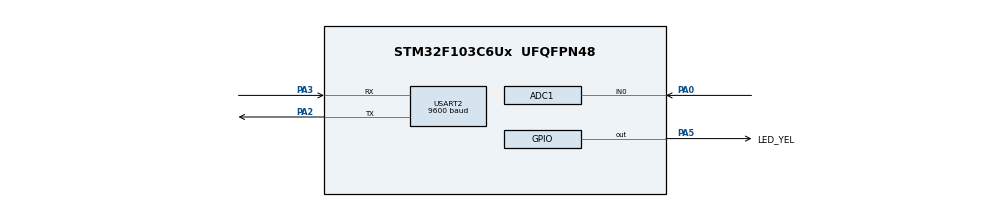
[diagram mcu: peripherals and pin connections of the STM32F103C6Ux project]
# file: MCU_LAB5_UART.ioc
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ADC1.Channel-0\#ChannelRegularConversion=ADC_CHANNEL_0
ADC1.ContinuousConvMode=ENABLE
ADC1.NbrOfConversionFlag=1
ADC1.Rank-0\#ChannelRegularConversion=1
ADC1.SamplingTime-0\#ChannelRegularConversion=ADC_SAMPLETIME_1CYCLE_5
ADC1.master=1
Mcu.Family=STM32F1
Mcu.Name=STM32F103C6Ux
Mcu.Package=UFQFPN48
NVIC.PriorityGroup=NVIC_PRIORITYGROUP_4
NVIC.TIM2_IRQn=true\:0\:0\:false\:false\:true\:true\:true\:true
NVIC.USART2_IRQn=true\:0\:0\:false\:false\:true\:true\:true\:true
PA0-WKUP.Signal=ADCx_IN0
PA2.Mode=Asynchronous
PA2.Signal=USART2_TX
PA3.Mode=Asynchronous
PA3.Signal=USART2_RX
PA5.GPIO_Label=LED_YEL
PA5.Signal=GPIO_Output
ProjectManager.HeapSize=0x200
ProjectManager.StackSize=0x400
ProjectManager.TargetToolchain=STM32CubeIDE
RCC.APB1Freq_Value=8000000
RCC.APB2Freq_Value=8000000
SH.ADCx_IN0.0=ADC1_IN0,IN0
TIM2.Period=9
TIM2.Prescaler=7999
USART2.BaudRate=9600
USART2.VirtualMode=VM_ASYNC
VP_SYS_VS_ND.Mode=No_Debug
VP_TIM2_VS_ClockSourceINT.Mode=Internal
board=custom

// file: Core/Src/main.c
/* USER CODE BEGIN Header */
/**
  ******************************************************************************
  * @file           : main.c
  * @brief          : Main program body
  ******************************************************************************
  * @attention
  *
  * Copyright (c) 2025 STMicroelectronics.
  * All rights reserved.
  *
  * This software is licensed under terms that can be found in the LICENSE file
  * in the root directory of this software component.
  * If no LICENSE file comes with this software, it is provided AS-IS.
  *
  ******************************************************************************
  */
/* USER CODE END Header */
#include "main.h"
#include "software_timer.h"
#include "fsm.h"
/* USER CODE BEGIN Includes */
#include <stdio.h>
/* USER CODE END Includes */

/* USER CODE BEGIN PD */
extern uint8_t buffer_flag;
void command_parser_fsm(void);
void uart_communication_fsm(void);
/* USER CODE END PD */

ADC_HandleTypeDef hadc1;

TIM_HandleTypeDef htim2;

UART_HandleTypeDef huart2;

void SystemClock_Config(void);
static void MX_GPIO_Init(void);
static void MX_USART2_UART_Init(void);
static void MX_ADC1_Init(void);
static void MX_TIM2_Init(void);

/* USER CODE BEGIN 0 */
void HAL_UART_RxCpltCallback(UART_HandleTypeDef *huart){
	if(huart->Instance == USART2){
		get_uart_message(huart);
	}
}
/* USER CODE END 0 */

int main(void)
{

  /* MCU Configuration--------------------------------------------------------*/

  /* Reset of all peripherals, Initializes the Flash interface and the Systick. */
  HAL_Init();

  /* Configure the system clock */
  SystemClock_Config();

  /* Initialize all configured peripherals */
  MX_GPIO_Init();
  MX_USART2_UART_Init();
  MX_ADC1_Init();
  MX_TIM2_Init();
  /* USER CODE BEGIN 2 */
  HAL_TIM_Base_Start_IT(&htim2);
  HAL_UART_Receive_IT(&huart2, &temp, 1);
  HAL_ADC_Start(&hadc1);
  /* USER CODE END 2 */

  /* Infinite loop */
  /* USER CODE BEGIN WHILE */
  while (1)
  {
	  if(buffer_flag == 1){
		  fsm_command_parser();
	      buffer_flag = 0;
	  }
	  fsm_uart_communication();
    /* USER CODE END WHILE */

  }
}

void SystemClock_Config(void)
{
  RCC_OscInitTypeDef RCC_OscInitStruct = {0};
  RCC_ClkInitTypeDef RCC_ClkInitStruct = {0};
  RCC_PeriphCLKInitTypeDef PeriphClkInit = {0};

  /** Initializes the RCC Oscillators according to the specified parameters
  * in the RCC_OscInitTypeDef structure.
  */
  RCC_OscInitStruct.OscillatorType = RCC_OSCILLATORTYPE_HSI;
  RCC_OscInitStruct.HSIState = RCC_HSI_ON;
  RCC_OscInitStruct.HSICalibrationValue = RCC_HSICALIBRATION_DEFAULT;
  RCC_OscInitStruct.PLL.PLLState = RCC_PLL_NONE;
  if (HAL_RCC_OscConfig(&RCC_OscInitStruct) != HAL_OK)
  {
    Error_Handler();
  }

  /** Initializes the CPU, AHB and APB buses clocks
  */
  RCC_ClkInitStruct.ClockType = RCC_CLOCKTYPE_HCLK|RCC_CLOCKTYPE_SYSCLK
                              |RCC_CLOCKTYPE_PCLK1|RCC_CLOCKTYPE_PCLK2;
  RCC_ClkInitStruct.SYSCLKSource = RCC_SYSCLKSOURCE_HSI;
  RCC_ClkInitStruct.AHBCLKDivider = RCC_SYSCLK_DIV1;
  RCC_ClkInitStruct.APB1CLKDivider = RCC_HCLK_DIV1;
  RCC_ClkInitStruct.APB2CLKDivider = RCC_HCLK_DIV1;

  if (HAL_RCC_ClockConfig(&RCC_ClkInitStruct, FLASH_LATENCY_0) != HAL_OK)
  {
    Error_Handler();
  }
  PeriphClkInit.PeriphClockSelection = RCC_PERIPHCLK_ADC;
  PeriphClkInit.AdcClockSelection = RCC_ADCPCLK2_DIV2;
  if (HAL_RCCEx_PeriphCLKConfig(&PeriphClkInit) != HAL_OK)
  {
    Error_Handler();
  }
}

static void MX_ADC1_Init(void)
{

  ADC_ChannelConfTypeDef sConfig = {0};

  /** Common config
  */
  hadc1.Instance = ADC1;
  hadc1.Init.ScanConvMode = ADC_SCAN_DISABLE;
  hadc1.Init.ContinuousConvMode = ENABLE;
  hadc1.Init.DiscontinuousConvMode = DISABLE;
  hadc1.Init.ExternalTrigConv = ADC_SOFTWARE_START;
  hadc1.Init.DataAlign = ADC_DATAALIGN_RIGHT;
  hadc1.Init.NbrOfConversion = 1;
  if (HAL_ADC_Init(&hadc1) != HAL_OK)
  {
    Error_Handler();
  }

  /** Configure Regular Channel
  */
  sConfig.Channel = ADC_CHANNEL_0;
  sConfig.Rank = ADC_REGULAR_RANK_1;
  sConfig.SamplingTime = ADC_SAMPLETIME_1CYCLE_5;
  if (HAL_ADC_ConfigChannel(&hadc1, &sConfig) != HAL_OK)
  {
    Error_Handler();
  }

}

static void MX_TIM2_Init(void)
{

  TIM_ClockConfigTypeDef sClockSourceConfig = {0};
  TIM_MasterConfigTypeDef sMasterConfig = {0};

  htim2.Instance = TIM2;
  htim2.Init.Prescaler = 7999;
  htim2.Init.CounterMode = TIM_COUNTERMODE_UP;
  htim2.Init.Period = 9;
  htim2.Init.ClockDivision = TIM_CLOCKDIVISION_DIV1;
  htim2.Init.AutoReloadPreload = TIM_AUTORELOAD_PRELOAD_DISABLE;
  if (HAL_TIM_Base_Init(&htim2) != HAL_OK)
  {
    Error_Handler();
  }
  sClockSourceConfig.ClockSource = TIM_CLOCKSOURCE_INTERNAL;
  if (HAL_TIM_ConfigClockSource(&htim2, &sClockSourceConfig) != HAL_OK)
  {
    Error_Handler();
  }
  sMasterConfig.MasterOutputTrigger = TIM_TRGO_RESET;
  sMasterConfig.MasterSlaveMode = TIM_MASTERSLAVEMODE_DISABLE;
  if (HAL_TIMEx_MasterConfigSynchronization(&htim2, &sMasterConfig) != HAL_OK)
  {
    Error_Handler();
  }

}

static void MX_USART2_UART_Init(void)
{

  huart2.Instance = USART2;
  huart2.Init.BaudRate = 9600;
  huart2.Init.WordLength = UART_WORDLENGTH_8B;
  huart2.Init.StopBits = UART_STOPBITS_1;
  huart2.Init.Parity = UART_PARITY_NONE;
  huart2.Init.Mode = UART_MODE_TX_RX;
  huart2.Init.HwFlowCtl = UART_HWCONTROL_NONE;
  huart2.Init.OverSampling = UART_OVERSAMPLING_16;
  if (HAL_UART_Init(&huart2) != HAL_OK)
  {
    Error_Handler();
  }

}

static void MX_GPIO_Init(void)
{
  GPIO_InitTypeDef GPIO_InitStruct = {0};

  /* GPIO Ports Clock Enable */
  __HAL_RCC_GPIOA_CLK_ENABLE();

  /*Configure GPIO pin Output Level */
  HAL_GPIO_WritePin(LED_YEL_GPIO_Port, LED_YEL_Pin, GPIO_PIN_RESET);

  /*Configure GPIO pin : LED_YEL_Pin */
  GPIO_InitStruct.Pin = LED_YEL_Pin;
  GPIO_InitStruct.Mode = GPIO_MODE_OUTPUT_PP;
  GPIO_InitStruct.Pull = GPIO_NOPULL;
  GPIO_InitStruct.Speed = GPIO_SPEED_FREQ_LOW;
  HAL_GPIO_Init(LED_YEL_GPIO_Port, &GPIO_InitStruct);

}

/* USER CODE BEGIN 4 */
void HAL_TIM_PeriodElapsedCallback(TIM_HandleTypeDef *htim){
	if(htim->Instance == TIM2)
	    {
	        timerRun();
	    }
}

/* USER CODE END 4 */

void Error_Handler(void)
{
  __disable_irq();
  while (1)
  {
  }
}
